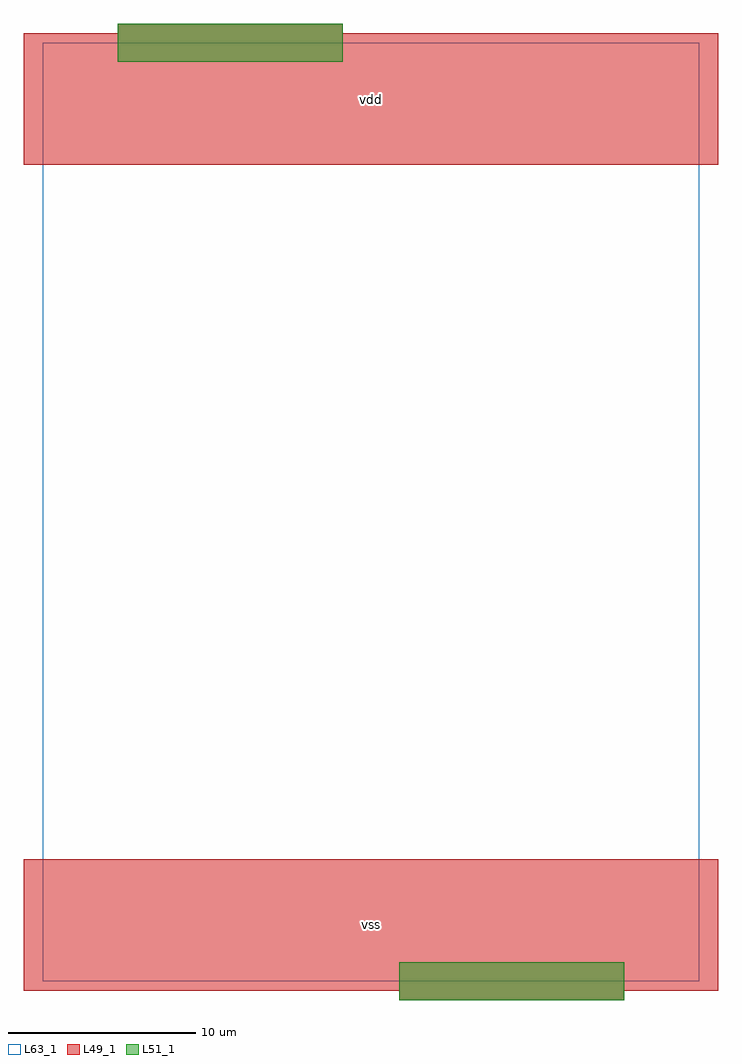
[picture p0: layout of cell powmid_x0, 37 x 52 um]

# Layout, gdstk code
import gdstk
lib = gdstk.Library(unit=1e-6, precision=1e-09)
def R(c, l, rs):  # rectangles x0, y0, x1, y1
    for r in rs: c.add(gdstk.rectangle(r[:2], r[2:], *l))
L49_1 = (49, 1)
L51_1 = (51, 1)
L63_1 = (63, 1)

powmid_x0 = lib.new_cell('powmid_x0')
R(powmid_x0, L49_1, [(19,-1,31,-0.5), (-1,-0.5,36,6.5), (-1,43.5,36,50.5), (4,50.5,16,51)])
R(powmid_x0, L51_1, [(19,-1,31,1), (4,49,16,51)])
R(powmid_x0, L63_1, [(0,0,35,50)])
powmid_x0.add(gdstk.Label('vss', (17.5,3), layer=49, texttype=1))
powmid_x0.add(gdstk.Label('vss', (17.5,3), layer=49, texttype=1))
powmid_x0.add(gdstk.Label('vdd', (17.5,47), layer=49, texttype=1))
powmid_x0.add(gdstk.Label('vdd', (17.5,47), layer=49, texttype=1))

lib.write_gds('powmid_x0.gds')
